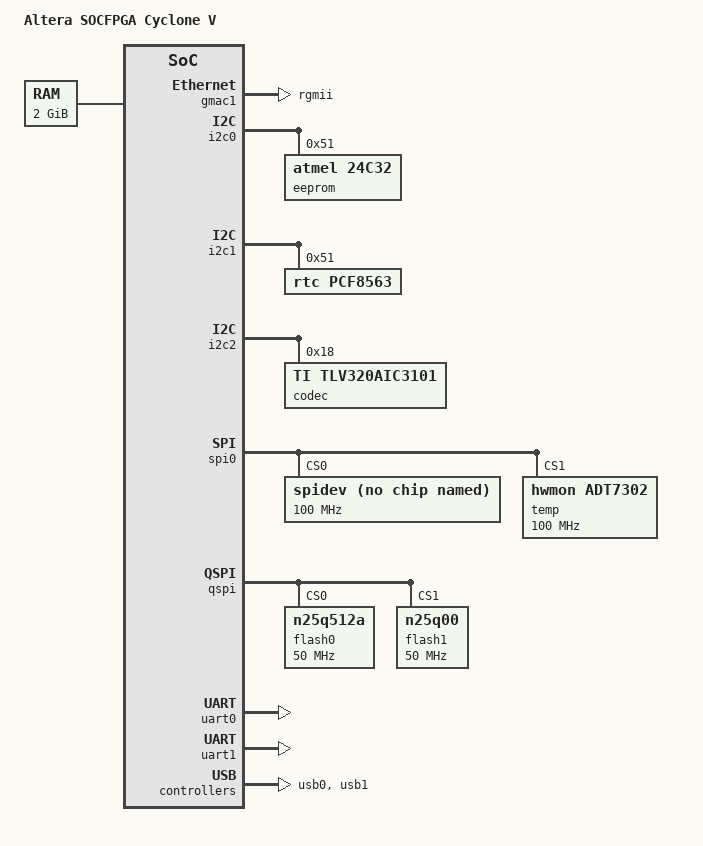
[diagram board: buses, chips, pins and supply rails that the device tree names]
/*
 * Nighthawk device tree for use by u-boot
 */
#include "socfpga_cyclone5.dtsi"

/ {
    model = "Altera SOCFPGA Cyclone V";	/* appended from boardinfo */
    compatible = "altr,socfpga-cyclone5", "altr,socfpga";	/* appended from boardinfo */

    chosen {
        bootargs = "earlyprintk";
        stdout-path = "serial0:115200n8";
    };

    memory@0 {
        device_type = "memory";
            reg = < 0x00000000 0x80000000 >;
    };

    aliases {
        ethernet0 = &gmac1;
    }; //end aliases

    soc {
        u-boot,dm-pre-reloc;
    }; //end soc
};


&gmac1 {
    status = "okay";
    phy-mode = "rgmii";
    snps,phy-addr = < 0xFFFFFFFF >;
    phy-addr = < 0xFFFFFFFF >;
    rxd0-skew-ps = <0>;
    rxd1-skew-ps = <0>;
    rxd2-skew-ps = <0>;
    rxd3-skew-ps = <0>;
    txd0-skew-ps = <0>;
    txd1-skew-ps = <0>;
    txd2-skew-ps = <0>;
    txd3-skew-ps = <0>;
    txen-skew-ps = <0>;
    txc-skew-ps = <3000>;
    rxdv-skew-ps = <0>;
    rxc-skew-ps = <3000>;
    max-frame-size = <3800>;
    tx-fifo-depth = <4096>;	/* embeddedsw.dts.params.tx-fifo-depth type NUMBER */
    rx-fifo-depth = <4096>;	/* embeddedsw.dts.params.rx-fifo-depth type NUMBER */
};

&i2c0 {
    status = "ok";
    speed-mode = <0>;
        eeprom@51 {
        compatible = "atmel,24c32";
        reg = < 0x51 >;
        pagesize = < 32 >;
    };
};

&i2c1 {
    status = "okay";
    speed-mode = <0>;

    rtc@51 {
        compatible = "rtc,pcf8563";
        reg = <0x51>;
    };
};

&i2c2 {
    status = "okay";
    speed-mode = <0>;
    codec@18 {
        compatible = "TI,TLV320AIC3101";
        reg = < 0x18 >;
    };
};

&spi0 {
    #address-cells = < 1 >;
    #size-cells = < 0 >;
    bus-num = < 0 >;
    num-chipselect = < 4 >;
    status = "okay";

    spidev@0 {
        compatible = "spidev";
        reg = < 0x0 >;
        spi-max-frequency = < 100000000 >;
        enable-dma = < 1 >;
    };

    temp@1 {
        compatible = "hwmon,adt7302";
        reg = < 0x1 >;
        spi-max-frequency = < 100000000 >;
        enable-dma = < 1 >;
    };
};

&qspi {
    compatible = "cadence,qspi";
    u-boot,dm-pre-reloc;
    status = "okay";
    flash0: n25q512a@0 {
        u-boot,dm-pre-reloc;
        #address-cells = <1>;
        #size-cells = <1>;
        compatible = "n25q512a", "spi-flash";
        reg = <0>;      /* chip select */
        spi-max-frequency = <50000000>;
        cdns,page-size = <256>;
        cdns,block-size = <16>;
        cdns,read-delay = <4>;
        cdns,tshsl-ns = <50>;
        cdns,tsd2d-ns = <50>;
        cdns,tchsh-ns = <4>;
        cdns,tslch-ns = <4>;
        cdns,is-decoded-cs = <0>;
        cdns,trigger-address = <0x00000000>;
        /* u-boot version of cadence_qspi currently doesn't expect the "cdns," prefix */
        page-size = <256>;
        block-size = <16>;
        read-delay = <4>;
        tshsl-ns = <50>;
        tsd2d-ns = <50>;
        tchsh-ns = <4>;
        tslch-ns = <4>;
        is-decoded-cs = <0>;
    };

    flash1: n25q00@1 {
        u-boot,dm-pre-reloc;
        #address-cells = <1>;
        #size-cells = <1>;
        compatible = "n25q00", "spi-flash";
        reg = <1>;      /* chip select */
        spi-max-frequency = <50000000>;
        cdns,page-size = <256>;
        cdns,block-size = <16>;
        cdns,read-delay = <4>;
        cdns,tshsl-ns = <50>;
        cdns,tsd2d-ns = <50>;
        cdns,tchsh-ns = <4>;
        cdns,tslch-ns = <4>;
        cdns,is-decoded-cs = <0>;
        cdns,trigger-address = <0x00000000>;
        /* u-boot version of cadence_qspi currently doesn't expect the "cdns," prefix */
        page-size = <256>;
        block-size = <16>;
        read-delay = <4>;
        tshsl-ns = <50>;
        tsd2d-ns = <50>;
        tchsh-ns = <4>;
        tslch-ns = <4>;
        is-decoded-cs = <0>;
    };
};

&uart0 {
    u-boot,dm-pre-reloc;
    status = "okay";
};

&uart1 {
    u-boot,dm-pre-reloc;
    status = "okay";
};

&usb0 {
    status = "okay";
};

&usb1 {
    status = "okay";
};

&gpio0 {
    status = "okay";
};

&gpio1 {
    status = "okay";
};

&gpio2 {
    status = "okay";
};
